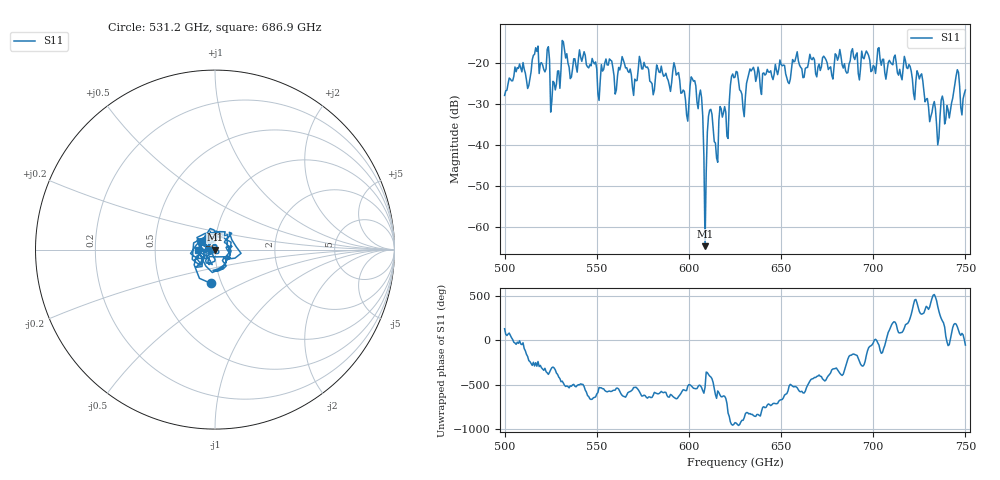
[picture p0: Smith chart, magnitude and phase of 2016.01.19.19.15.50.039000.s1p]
!Created with skrf (http://scikit-rf.org).
# GHz S RI R 50.0
!freq ReS11 ImS11
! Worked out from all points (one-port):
!   401 points, 500 GHz to 750 GHz, reference 50 ohm
!   lowest |S11| = -64.6 dB at 608.8 GHz (marker M1), VSWR 1.00, Z = 49.9 - j0.0137 ohm
!   |S11| at or under -10 dB: start of sweep to end of sweep
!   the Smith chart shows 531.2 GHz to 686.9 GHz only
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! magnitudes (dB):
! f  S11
! 500 GHz  -27.9
! 506.9 GHz  -21.1
! 513.1 GHz  -25.5
! 516.9 GHz  -16.2
! 523.1 GHz  -16.6
! 526.2 GHz  -24.4
! 531.2 GHz  -14.5
! 551.9 GHz  -24.4
! 562.5 GHz  -21.7
! 570.6 GHz  -23.9
! 574.4 GHz  -21.4
! 580 GHz  -25.0
! 593.8 GHz  -22.6
! 598.8 GHz  -32.6
! 601.9 GHz  -23.8
! 606.2 GHz  -26.6
! 608.8 GHz  -64.6
! 611.2 GHz  -31.5
! 615 GHz  -43.1
! 625 GHz  -23.4
! 629.4 GHz  -31.1
! 633.8 GHz  -21.9
! 656.2 GHz  -19.1
! 687.5 GHz  -19.4
! 718.8 GHz  -21.3
! 735 GHz  -39.9
! 745 GHz  -23.0
! 750 GHz  -26.6
